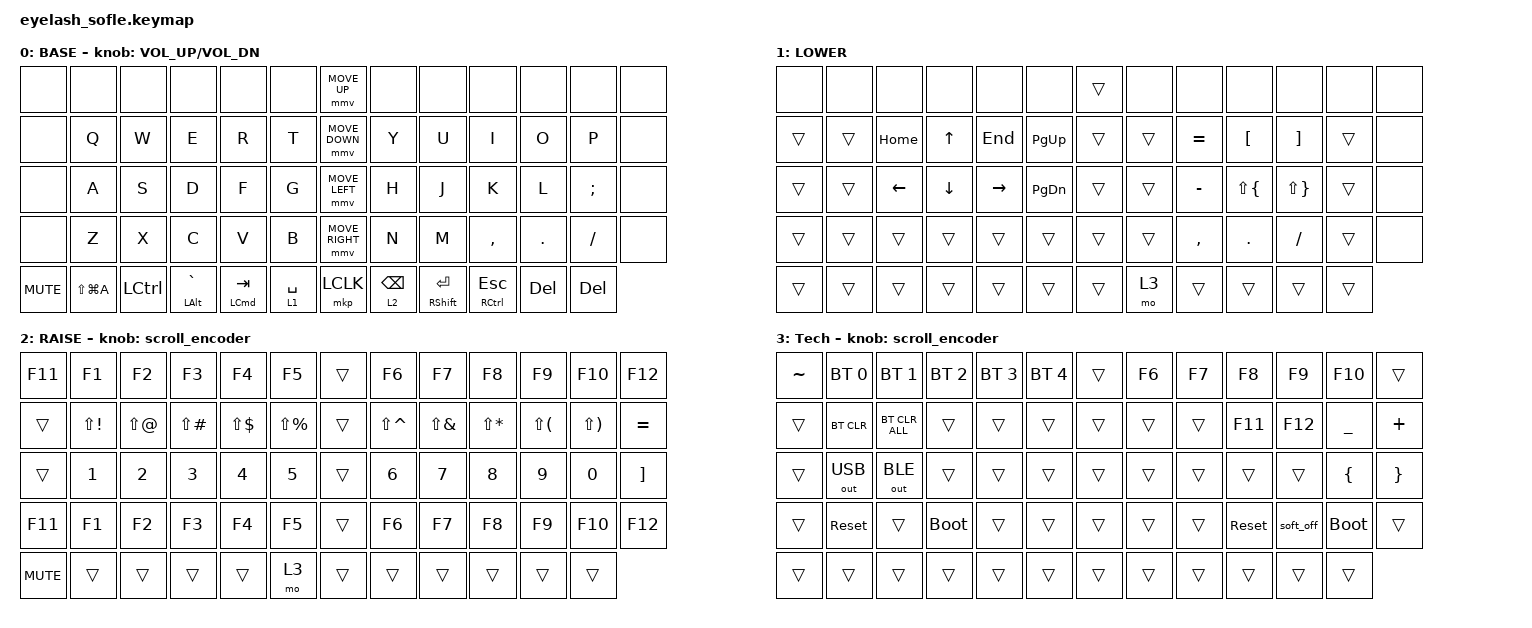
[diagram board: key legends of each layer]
#include <behaviors.dtsi>
#include <dt-bindings/zmk/bt.h>
#include <dt-bindings/zmk/keys.h>
#include <dt-bindings/zmk/outputs.h>
#include <dt-bindings/zmk/pointing.h>

#include <input/processors.dtsi>

/*

   &mmv_input_listener {
       input-processors = <&zip_xy_scaler 2 1>;
   };

   &msc_input_listener {
       input-processors = <&zip_xy_scaler 2 1>;
   };

 */

#define ZMK_MOUSE_DEFAULT_MOVE_VAL 1200  // 600
#define ZMK_MOUSE_DEFAULT_SCRL_VAL 20    // 10


/ {
    behaviors {
        mmv {
            acceleration-exponent = <1>;      // 1
            time-to-max-speed-ms = <900>;    // 40
            delay-ms = <0>;                   // 0
        };

        msc {
            acceleration-exponent = <1>;      // 0
            time-to-max-speed-ms = <400>;      // 500
            delay-ms = <0>;                   //   10
        };
    };

    scroll_encoder: scroll_encoder {
        compatible = "zmk,behavior-sensor-rotate";
        #sensor-binding-cells = <0>;
        bindings = <&msc SCRL_DOWN>, <&msc SCRL_UP>;

        tap-ms = <30>;
    };

    keymap {
        compatible = "zmk,keymap";

        layer0 {
            bindings = <
&none       &none          &none             &none               &none                 &none          &mmv MOVE_UP     &none            &none                  &none                  &none       &none       &none
&none       &kp Q          &kp W             &kp E               &kp R                 &kp T          &mmv MOVE_DOWN   &kp Y            &kp U                  &kp I                  &kp O       &kp P       &none
&none       &kp A          &kp S             &kp D               &kp F                 &kp G          &mmv MOVE_LEFT   &kp H            &kp J                  &kp K                  &kp L       &kp SEMI    &none
&none       &kp Z          &kp X             &kp C               &kp V                 &kp B          &mmv MOVE_RIGHT  &kp N            &kp M                  &kp COMMA              &kp DOT     &kp FSLH    &none
&kp C_MUTE  &kp LS(LG(A))  &kp LEFT_CONTROL  &mt LEFT_ALT GRAVE  &mt LEFT_COMMAND TAB  &lt 1 SPACE    &mkp LCLK        &lt 2 BACKSPACE  &mt RIGHT_SHIFT ENTER  &mt RIGHT_CONTROL ESC  &kp DELETE  &kp DELETE
            >;

            sensor-bindings = <&inc_dec_kp C_VOLUME_UP C_VOL_DN>;
            display-name = "BASE";
        };

        Lower {
            bindings = <
&none      &none         &none       &none          &none         &none            &trans  &none          &none         &none         &none         &none         &none
&trans     &trans        &kp HOME    &kp UP         &kp END       &kp PG_UP        &trans  &trans         &kp EQUAL     &kp LBKT      &kp RBKT      &trans        &none
&trans     &trans        &kp LEFT    &kp DOWN       &kp RIGHT     &kp PG_DN        &trans  &trans         &kp MINUS     &kp LS(LBRC)  &kp LS(RBRC)  &trans        &none
&trans     &trans        &trans      &trans         &trans        &trans           &trans  &trans         &kp COMMA     &kp DOT       &kp FSLH      &trans        &none
&trans     &trans        &trans      &trans         &trans        &trans           &trans  &mo 3          &trans        &trans        &trans        &trans
            >;

            label = "LOWER";
        };

        Raise {
            bindings = <
&kp F11     &kp F1        &kp F2      &kp F3         &kp F4        &kp F5           &trans           &kp F6         &kp F7        &kp F8        &kp F9        &kp F10       &kp F12
&trans      &kp LS(EXCL)  &kp LS(AT)  &kp LS(POUND)  &kp LS(DLLR)  &kp LS(PRCNT)    &trans           &kp LS(CARET)  &kp LS(AMPS)  &kp LS(STAR)  &kp LS(LPAR)  &kp LS(RPAR)  &kp EQUAL
&trans      &kp N1        &kp N2      &kp N3         &kp N4        &kp N5           &trans           &kp N6         &kp N7        &kp N8        &kp N9        &kp N0        &kp RIGHT_BRACKET
&kp F11     &kp F1        &kp F2      &kp F3         &kp F4        &kp F5           &trans           &kp F6         &kp F7        &kp F8        &kp F9        &kp F10       &kp F12
&kp C_MUTE  &trans        &trans      &trans         &trans        &mo 3            &trans           &trans         &trans        &trans        &trans        &trans
            >;

            display-name = "RAISE";
            sensor-bindings = <&scroll_encoder>;
        };

        Tech {
            bindings = <
&kp TILDE  &bt BT_SEL 0  &bt BT_SEL 1    &bt BT_SEL 2  &bt BT_SEL 3  &bt BT_SEL 4    &trans           &kp F6  &kp F7  &kp F8      &kp F9     &kp F10      &trans
&trans     &bt BT_CLR    &bt BT_CLR_ALL  &trans        &trans        &trans          &trans           &trans  &trans  &kp F11     &kp F12    &kp UNDER    &kp PLUS
&trans     &out OUT_USB  &out OUT_BLE    &trans        &trans        &trans          &trans           &trans  &trans  &trans      &trans     &kp LBRC     &kp RBRC
&trans     &sys_reset    &trans          &bootloader   &trans        &trans          &trans           &trans  &trans  &sys_reset  &soft_off  &bootloader  &trans
&trans     &trans        &trans          &trans        &trans        &trans          &trans           &trans  &trans  &trans      &trans     &trans
            >;

            sensor-bindings = <&scroll_encoder>;
            label = "Tech";
        };
    };
};
